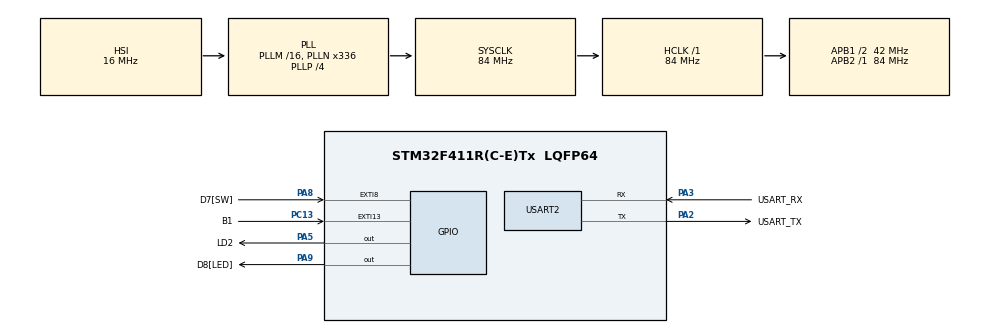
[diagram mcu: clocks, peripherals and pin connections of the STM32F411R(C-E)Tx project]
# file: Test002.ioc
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Mcu.Family=STM32F4
Mcu.Name=STM32F411R(C-E)Tx
Mcu.Package=LQFP64
NVIC.EXTI15_10_IRQn=true\:0\:0\:false\:false\:true\:true\:true\:true
NVIC.EXTI9_5_IRQn=true\:0\:0\:false\:false\:true\:true\:true\:true
NVIC.PriorityGroup=NVIC_PRIORITYGROUP_0
PA13.GPIO_Label=TMS
PA13.Mode=Serial_Wire
PA13.Signal=SYS_JTMS-SWDIO
PA14.GPIO_Label=TCK
PA14.Mode=Serial_Wire
PA14.Signal=SYS_JTCK-SWCLK
PA2.GPIO_Label=USART_TX
PA2.Mode=Asynchronous
PA2.Signal=USART2_TX
PA3.GPIO_Label=USART_RX
PA3.Mode=Asynchronous
PA3.Signal=USART2_RX
PA5.GPIO_Label=LD2
PA5.Signal=GPIO_Output
PA8.GPIO_Label=D7[SW]
PA8.Signal=GPXTI8
PA9.GPIO_Label=D8[LED]
PA9.Signal=GPIO_Output
PB3.GPIO_Label=SWO
PB3.Signal=SYS_JTDO-SWO
PC13-ANTI_TAMP.GPIO_Label=B1
PC13-ANTI_TAMP.GPIO_ModeDefaultEXTI=GPIO_MODE_IT_RISING
PC13-ANTI_TAMP.Signal=GPXTI13
PC14-OSC32_IN.Mode=LSE-External-Oscillator
PC14-OSC32_IN.Signal=RCC_OSC32_IN
PC15-OSC32_OUT.Mode=LSE-External-Oscillator
PC15-OSC32_OUT.Signal=RCC_OSC32_OUT
PH0\ -\ OSC_IN.Mode=HSE-External-Clock-Source
PH0\ -\ OSC_IN.Signal=RCC_OSC_IN
PH1\ -\ OSC_OUT.Mode=HSE-External-Clock-Source
PH1\ -\ OSC_OUT.Signal=RCC_OSC_OUT
ProjectManager.HeapSize=0x200
ProjectManager.StackSize=0x400
ProjectManager.TargetToolchain=STM32CubeIDE
RCC.48MHZClocksFreq_Value=84000000
RCC.AHBFreq_Value=84000000
RCC.APB1CLKDivider=RCC_HCLK_DIV2
RCC.APB1Freq_Value=42000000
RCC.APB1TimFreq_Value=84000000
RCC.APB2Freq_Value=84000000
RCC.APB2TimFreq_Value=84000000
RCC.CortexFreq_Value=84000000
RCC.FLatency-AdvancedSettings=FLASH_LATENCY_2
RCC.HCLKFreq_Value=84000000
RCC.HSE_VALUE=8000000
RCC.HSI_VALUE=16000000
RCC.PLLN=336
RCC.PLLP=RCC_PLLP_DIV4
RCC.SYSCLKFreq_VALUE=84000000
RCC.SYSCLKSource=RCC_SYSCLKSOURCE_PLLCLK
RCC.VCOOutputFreq_Value=336000000
USART2.VirtualMode=VM_ASYNC
board=NUCLEO-F411RE

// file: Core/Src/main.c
/* USER CODE BEGIN Header */
/**
  ******************************************************************************
  * @file           : main.c
  * @brief          : Main program body
  ******************************************************************************
  * @attention
  *
  * Copyright (c) 2024 STMicroelectronics.
  * All rights reserved.
  *
  * This software is licensed under terms that can be found in the LICENSE file
  * in the root directory of this software component.
  * If no LICENSE file comes with this software, it is provided AS-IS.
  *
  ******************************************************************************
  */
/* USER CODE END Header */
#include "main.h"

/* USER CODE BEGIN Includes */
#include <stdio.h>
/* USER CODE END Includes */

UART_HandleTypeDef huart2;

void SystemClock_Config(void);
static void MX_GPIO_Init(void);
static void MX_USART2_UART_Init(void);

/* USER CODE BEGIN 0 */
void standby()
{
	while(HAL_GPIO_ReadPin(B1_GPIO_Port, B1_Pin));
}
int mode = 0; // mode = 0: stop, mode = 1: Flash
volatile int t = 500;

void HAL_GPIO_EXTI_Callback(uint16_t GPIO_Pin) // ATMega?��?��?�� ISR�?? 같�? ?��?��
{
	switch(GPIO_Pin)
	{
	case B1_Pin:
		mode = ~mode; // mode = (mode) ? 0 : 1;
		break;
	case D7_Pin:
		t = (t < 200) ? 1000 : (t-100);
		break;
	}
	//if(!HAL_GPIO_ReadPin(B1_GPIO_Port, B1_Pin)) // ?��?��?��?���?? 발생?��?��?�� �?? ?��체�? 버튼?�� ?��?��?��?�� 것이�??�?? �???��?�� ?��

}
/* USER CODE END 0 */

int main(void)
{

  /* MCU Configuration--------------------------------------------------------*/

  /* Reset of all peripherals, Initializes the Flash interface and the Systick. */
  HAL_Init();

  /* Configure the system clock */
  SystemClock_Config();

  /* Initialize all configured peripherals */
  MX_GPIO_Init();
  MX_USART2_UART_Init();
  /* USER CODE BEGIN 2 */
  //standby();
  /* USER CODE END 2 */

  /* Infinite loop */
  while (1)
  {

    /* USER CODE BEGIN 3 */
	  if(mode)
	  {
		  HAL_GPIO_WritePin(D8_GPIO_Port, D8_Pin, 1);
		  HAL_Delay(t); // ms
		  HAL_GPIO_WritePin(D8_GPIO_Port, D8_Pin, 0);
		  HAL_Delay(t); // ms
	  }
  }
  /* USER CODE END 3 */
}

void SystemClock_Config(void)
{
  RCC_OscInitTypeDef RCC_OscInitStruct = {0};
  RCC_ClkInitTypeDef RCC_ClkInitStruct = {0};

  /** Configure the main internal regulator output voltage
  */
  __HAL_RCC_PWR_CLK_ENABLE();
  __HAL_PWR_VOLTAGESCALING_CONFIG(PWR_REGULATOR_VOLTAGE_SCALE1);

  /** Initializes the RCC Oscillators according to the specified parameters
  * in the RCC_OscInitTypeDef structure.
  */
  RCC_OscInitStruct.OscillatorType = RCC_OSCILLATORTYPE_HSI;
  RCC_OscInitStruct.HSIState = RCC_HSI_ON;
  RCC_OscInitStruct.HSICalibrationValue = RCC_HSICALIBRATION_DEFAULT;
  RCC_OscInitStruct.PLL.PLLState = RCC_PLL_ON;
  RCC_OscInitStruct.PLL.PLLSource = RCC_PLLSOURCE_HSI;
  RCC_OscInitStruct.PLL.PLLM = 16;
  RCC_OscInitStruct.PLL.PLLN = 336;
  RCC_OscInitStruct.PLL.PLLP = RCC_PLLP_DIV4;
  RCC_OscInitStruct.PLL.PLLQ = 4;
  if (HAL_RCC_OscConfig(&RCC_OscInitStruct) != HAL_OK)
  {
    Error_Handler();
  }

  /** Initializes the CPU, AHB and APB buses clocks
  */
  RCC_ClkInitStruct.ClockType = RCC_CLOCKTYPE_HCLK|RCC_CLOCKTYPE_SYSCLK
                              |RCC_CLOCKTYPE_PCLK1|RCC_CLOCKTYPE_PCLK2;
  RCC_ClkInitStruct.SYSCLKSource = RCC_SYSCLKSOURCE_PLLCLK;
  RCC_ClkInitStruct.AHBCLKDivider = RCC_SYSCLK_DIV1;
  RCC_ClkInitStruct.APB1CLKDivider = RCC_HCLK_DIV2;
  RCC_ClkInitStruct.APB2CLKDivider = RCC_HCLK_DIV1;

  if (HAL_RCC_ClockConfig(&RCC_ClkInitStruct, FLASH_LATENCY_2) != HAL_OK)
  {
    Error_Handler();
  }
}

static void MX_USART2_UART_Init(void)
{

  huart2.Instance = USART2;
  huart2.Init.BaudRate = 115200;
  huart2.Init.WordLength = UART_WORDLENGTH_8B;
  huart2.Init.StopBits = UART_STOPBITS_1;
  huart2.Init.Parity = UART_PARITY_NONE;
  huart2.Init.Mode = UART_MODE_TX_RX;
  huart2.Init.HwFlowCtl = UART_HWCONTROL_NONE;
  huart2.Init.OverSampling = UART_OVERSAMPLING_16;
  if (HAL_UART_Init(&huart2) != HAL_OK)
  {
    Error_Handler();
  }

}

static void MX_GPIO_Init(void)
{
  GPIO_InitTypeDef GPIO_InitStruct = {0};

  /* GPIO Ports Clock Enable */
  __HAL_RCC_GPIOC_CLK_ENABLE();
  __HAL_RCC_GPIOH_CLK_ENABLE();
  __HAL_RCC_GPIOA_CLK_ENABLE();
  __HAL_RCC_GPIOB_CLK_ENABLE();

  /*Configure GPIO pin Output Level */
  HAL_GPIO_WritePin(GPIOA, LD2_Pin|D8_Pin, GPIO_PIN_RESET);

  /*Configure GPIO pin : B1_Pin */
  GPIO_InitStruct.Pin = B1_Pin;
  GPIO_InitStruct.Mode = GPIO_MODE_IT_RISING;
  GPIO_InitStruct.Pull = GPIO_NOPULL;
  HAL_GPIO_Init(B1_GPIO_Port, &GPIO_InitStruct);

  /*Configure GPIO pins : LD2_Pin D8_Pin */
  GPIO_InitStruct.Pin = LD2_Pin|D8_Pin;
  GPIO_InitStruct.Mode = GPIO_MODE_OUTPUT_PP;
  GPIO_InitStruct.Pull = GPIO_NOPULL;
  GPIO_InitStruct.Speed = GPIO_SPEED_FREQ_LOW;
  HAL_GPIO_Init(GPIOA, &GPIO_InitStruct);

  /*Configure GPIO pin : D7_Pin */
  GPIO_InitStruct.Pin = D7_Pin;
  GPIO_InitStruct.Mode = GPIO_MODE_IT_RISING;
  GPIO_InitStruct.Pull = GPIO_NOPULL;
  HAL_GPIO_Init(D7_GPIO_Port, &GPIO_InitStruct);

  /* EXTI interrupt init*/
  HAL_NVIC_SetPriority(EXTI9_5_IRQn, 0, 0);
  HAL_NVIC_EnableIRQ(EXTI9_5_IRQn);

  HAL_NVIC_SetPriority(EXTI15_10_IRQn, 0, 0);
  HAL_NVIC_EnableIRQ(EXTI15_10_IRQn);

}

void Error_Handler(void)
{
  __disable_irq();
  while (1)
  {
  }
}
